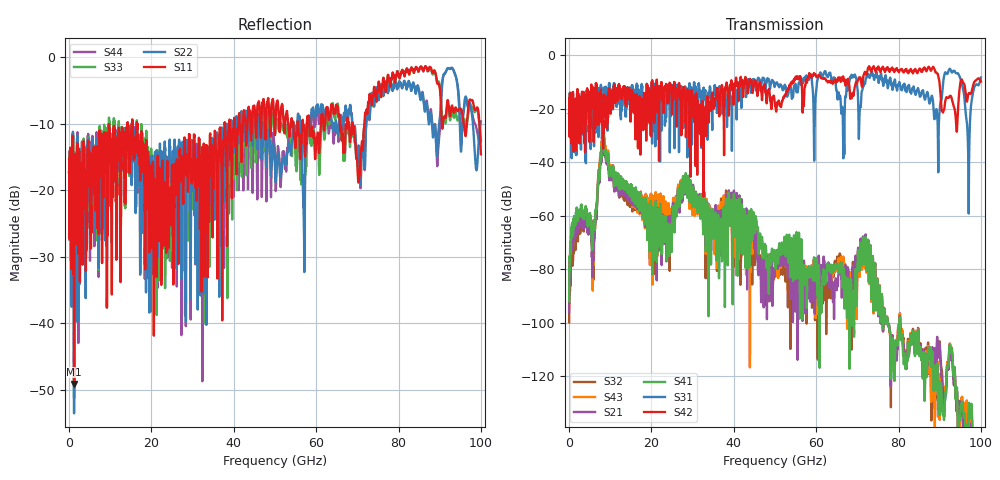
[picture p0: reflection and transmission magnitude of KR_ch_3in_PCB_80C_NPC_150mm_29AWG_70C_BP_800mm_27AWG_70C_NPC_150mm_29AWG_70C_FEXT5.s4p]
# GHz S RI R 45
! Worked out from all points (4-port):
!   4000 points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, 25 MHz to 100 GHz, reference 45 ohm
!   strongest paths, dB at 25 MHz, 25.02 GHz, 50.02 GHz, 75.03 GHz, 100 GHz:
!     S42: -21.8, -20.6, -18.8, -4.2, -9.7
!     S31: -21.8, -12.0, -11.2, -8.1, -8.3
!     S41: -92.0, -62.6, -76.5, -94.2, -155.4
!     S21: -96.0, -58.8, -78.9, -94.7, -167.9
!     S43: -94.5, -59.7, -79.4, -94.1, -166.5
!     S32: -100.0, -63.3, -82.4, -94.7, -171.7
!   lowest |S11| = -49.1 dB at 1.225 GHz (marker M1), VSWR 1.01, Z = 45.3 - j0.0216 ohm
!   |S11| at or under -10 dB: start of sweep to 14.15 GHz; 16.48 GHz to 37.76 GHz (21.28 GHz wide, 78.5 % of centre); 68.84 GHz to 71.75 GHz (2.903 GHz wide, 4.13 % of centre) (the widest 3 of 34)
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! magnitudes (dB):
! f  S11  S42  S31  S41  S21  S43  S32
! 25 MHz  -17.2  -21.8  -21.8  -92.0  -96.0  -94.5  -100.0
! 1.225 GHz  -49.1  -27.8  -27.2  -61.2  -65.0  -63.4  -68.3
! 5.95 GHz  -16.5  -14.1  -14.7  -63.2  -73.3  -72.3  -74.2
! 8.375 GHz  -20.9  -22.3  -19.2  -29.1  -30.6  -27.3  -28.8
! 24.07 GHz  -23.5  -15.7  -15.3  -63.9  -61.8  -55.6  -59.1
! 96.92 GHz  -7.7  -14.7  -36.8  -138.8  -142.4  -140.9  -146.8
! 100 GHz  -14.6  -9.7  -8.3  -155.4  -167.9  -166.5  -171.7
